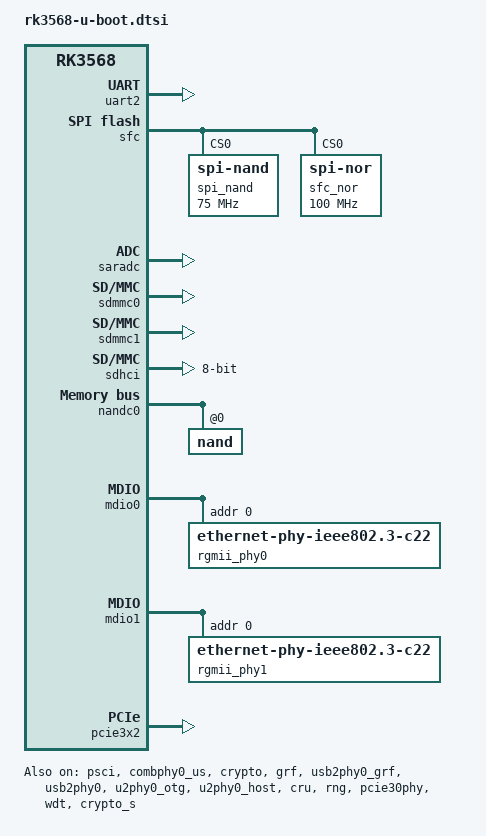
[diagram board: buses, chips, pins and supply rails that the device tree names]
// SPDX-License-Identifier: (GPL-2.0+ OR MIT)

/ {
	aliases {
		ethernet0 = &gmac0;
		ethernet1 = &gmac1;
		mmc0 = &sdhci;
		mmc1 = &sdmmc0;
		mmc2 = &sdmmc1;
	};

	chosen {
		stdout-path = &uart2;
		u-boot,spl-boot-order = &sdmmc0, &sdhci, &nandc0, &spi_nand, &spi_nor;
	};

	firmware: firmware {
		optee: optee {
			compatible = "linaro,optee-tz";
			method = "smc";
		};
	};

	/* crypto_s and crypto_ns share the same base address on RK3568. */
	crypto_s: crypto_s@fe380000 {
		compatible = "rockchip,rk3568-crypto";
		reg = <0x0 0xfe380000 0x0 0x4000>;
		secure;
		clocks = <&cru CLK_CRYPTO_NS_CORE>, <&cru CLK_CRYPTO_NS_PKA>;
		clock-names = "sclk_crypto", "apkclk_crypto";
		clock-frequency = <150000000>, <300000000>;
		status = "disabled";
	};

	secure-otp@fe3a0000 {
		compatible = "rockchip,rk3568-secure-otp";
		reg = <0x0 0xfe3a0000 0x0 0x4000>;
		secure_conf = <0xfdd18008>;
		mask_addr = <0xfe880000>;
		cru_rst_addr = <0xfdd20470>;
		bootph-all;
	};

	bootstd {
		compatible = "u-boot,boot-std";
		bootph-all;
		filename-prefixes = "/", "/boot/";

		extlinux {
			bootph-all;
			compatible = "u-boot,extlinux";
		};
	};
};

&firmware {
	bootph-all;
	status = "okay";
};

&optee {
	bootph-all;
	status = "okay";
};

&psci {
	bootph-all;
	status = "okay";
};

&combphy0_us {
	bootph-all;
	status = "okay";
};

&crypto {
	bootph-all;
	status = "okay";
};

&crypto_s {
	bootph-all;
	status = "okay";
};

&uart2 {
	clock-frequency = <24000000>;
	bootph-all;
	/delete-property/ pinctrl-names;
	/delete-property/ pinctrl-0;
	status = "okay";
};

&grf {
	bootph-all;
	status = "okay";
};

&pipegrf {
	bootph-all;
};

&pipe_phy_grf0 {
	bootph-all;
};

&pmugrf {
	bootph-all;
	status = "okay";
};

&usb2phy0_grf {
	bootph-all;
	status = "okay";
};

&usb2phy0 {
	bootph-all;
	status = "okay";
};

&u2phy0_otg {
	bootph-all;
	status = "okay";
};

&u2phy0_host {
	bootph-all;
	status = "okay";
};

&cru {
	bootph-all;
	status = "okay";
};

&pmucru {
	bootph-all;
	status = "okay";
};

&rng {
	bootph-all;
	status = "okay";
};

&sfc {
	bootph-all;
	/delete-property/ pinctrl-names;
	/delete-property/ pinctrl-0;
	/delete-property/ assigned-clocks;
	/delete-property/ assigned-clock-rates;
	status = "okay";

	#address-cells = <1>;
	#size-cells = <0>;
	spi_nand: flash@0 {
		bootph-all;
		compatible = "spi-nand";
		reg = <0>;
		spi-tx-bus-width = <1>;
		spi-rx-bus-width = <4>;
		spi-max-frequency = <75000000>;
	};

	spi_nor: flash@1 {
		bootph-all;
		compatible = "jedec,spi-nor";
		label = "sfc_nor";
		reg = <0>;
		spi-tx-bus-width = <1>;
		spi-rx-bus-width = <4>;
		spi-max-frequency = <100000000>;
	};
};

&saradc {
	bootph-all;
	status = "okay";
};

&sdmmc0 {
	bootph-all;
	status = "okay";
};

&sdmmc0_pins {
	bootph-all;
};

&sdmmc0_bus4 {
	bootph-all;
};

&sdmmc0_clk {
	bootph-all;
};

&sdmmc0_cmd {
	bootph-all;
};

&sdmmc0_det {
	bootph-all;
};

&sdmmc1 {
	bootph-all;
	/delete-property/ pinctrl-names;
	/delete-property/ pinctrl-0;
	status = "okay";
};

&sdhci {
	bus-width = <8>;
	bootph-all;
	/delete-property/ pinctrl-names;
	/delete-property/ pinctrl-0;
	mmc-hs200-1_8v;
	status = "okay";
};

&nandc0 {
	bootph-all;
	status = "okay";
	#address-cells = <1>;
	#size-cells = <0>;
	/delete-property/ pinctrl-names;
	/delete-property/ pinctrl-0;

	nand@0 {
		bootph-all;
		reg = <0>;
		nand-ecc-mode = "hw";
		nand-ecc-strength = <16>;
		nand-ecc-step-size = <1024>;
	};
};

&gmac0_clkin {
	bootph-all;
};

&gmac1_clkin {
	bootph-all;
};

&gmac0 {
	bootph-all;
	phy-mode = "rgmii";
	clock_in_out = "output";

	snps,reset-gpio = <&gpio2 RK_PD3 GPIO_ACTIVE_LOW>;
	snps,reset-active-low;
	/* Reset time is 20ms, 100ms for rtl8211f */
	snps,reset-delays-us = <0 20000 100000>;
	assigned-clocks = <&cru SCLK_GMAC0_RX_TX>, <&cru SCLK_GMAC0>;
	assigned-clock-parents = <&cru SCLK_GMAC0_RGMII_SPEED>;
	assigned-clock-rates = <0>, <125000000>;

	pinctrl-names = "default";
	pinctrl-0 = <&gmac0_miim
		     &gmac0_tx_bus2
		     &gmac0_rx_bus2
		     &gmac0_rgmii_clk
		     &gmac0_rgmii_bus>;

	tx_delay = <0x3c>;
	rx_delay = <0x2f>;

	phy-handle = <&rgmii_phy0>;
	status = "disabled";
};

&gmac1 {
	bootph-all;
	phy-mode = "rgmii";
	clock_in_out = "output";

	snps,reset-gpio = <&gpio2 RK_PD1 GPIO_ACTIVE_LOW>;
	snps,reset-active-low;
	/* Reset time is 20ms, 100ms for rtl8211f */
	snps,reset-delays-us = <0 20000 100000>;

	assigned-clocks = <&cru SCLK_GMAC1_RX_TX>, <&cru SCLK_GMAC1>;
	assigned-clock-parents = <&cru SCLK_GMAC1_RGMII_SPEED>;
	assigned-clock-rates = <0>, <125000000>;

	pinctrl-names = "default";
	pinctrl-0 = <&gmac1m1_miim
		     &gmac1m1_tx_bus2
		     &gmac1m1_rx_bus2
		     &gmac1m1_rgmii_clk
		     &gmac1m1_rgmii_bus>;

	tx_delay = <0x4f>;
	rx_delay = <0x26>;

	phy-handle = <&rgmii_phy1>;
	status = "disabled";
};

&gmac0_stmmac_axi_setup {
	bootph-all;
};

&gmac0_mtl_rx_setup {
	bootph-all;
	queue0 {
		bootph-all;
	};
};

&gmac0_mtl_tx_setup {
	bootph-all;
	queue0 {
		bootph-all;
	};
};

&gmac1_stmmac_axi_setup {
	bootph-all;
};

&gmac1_mtl_rx_setup {
	bootph-all;
	queue0 {
		bootph-all;
	};
};

&gmac1_mtl_tx_setup {
	bootph-all;
	queue0 {
		bootph-all;
	};
};

&mdio0 {
	bootph-all;
	rgmii_phy0: phy@0 {
		compatible = "ethernet-phy-ieee802.3-c22";
		bootph-all;
		reg = <0x0>;
	};
};

&mdio1 {
	bootph-all;
	rgmii_phy1: phy@0 {
		compatible = "ethernet-phy-ieee802.3-c22";
		bootph-all;
		reg = <0x0>;
	};
};

&gmac0_miim {
	bootph-all;
};

&gmac0_clkinout {
	bootph-all;
};

&gmac0_rx_bus2 {
	bootph-all;
};

&gmac0_tx_bus2 {
	bootph-all;
};

&gmac0_rgmii_clk {
	bootph-all;
};

&gmac0_rgmii_bus {
	bootph-all;
};

&gmac1m1_miim {
	bootph-all;
};

&gmac1m1_clkinout {
	bootph-all;
};

&gmac1m1_rx_bus2 {
	bootph-all;
};

&gmac1m1_tx_bus2 {
	bootph-all;
};

&gmac1m1_rgmii_clk {
	bootph-all;
};

&gmac1m1_rgmii_bus {
	bootph-all;
};

&eth0_clkout_pins {
	bootph-all;
};

&eth1m1_clkout_pins {
	bootph-all;
};

&pcie30phy {
	bootph-all;
	status = "okay";
};

&pcie3x2 {
	bootph-all;
	status = "okay";
};

&pinctrl {
	bootph-all;
	status = "okay";
};

&gpio0 {
	bootph-all;
};

&gpio1 {
	bootph-all;
};

&gpio2 {
	bootph-all;
};

&pcfg_pull_none_drv_level_1 {
	bootph-all;
};

&pcfg_pull_none_drv_level_2 {
	bootph-all;
};


&pcfg_pull_up_drv_level_1 {
	bootph-all;
};

&pcfg_pull_up_drv_level_2 {
	bootph-all;
};

&pcfg_pull_up {
	bootph-all;
};

&pcfg_pull_none {
	bootph-all;
};

&wdt {
	bootph-all;
	status = "okay";
};

#if 0
&i2c0 {
	bootph-all;
	status = "okay";
};

&i2c0_xfer {
	bootph-all;
	status = "okay";
};

&i2c1 {
	bootph-all;
	status = "okay";
};

&i2c1_xfer {
	bootph-all;
	status = "okay";
};

&pcfg_pull_none_smt {
	bootph-all;
	status = "okay";
};
#endif

